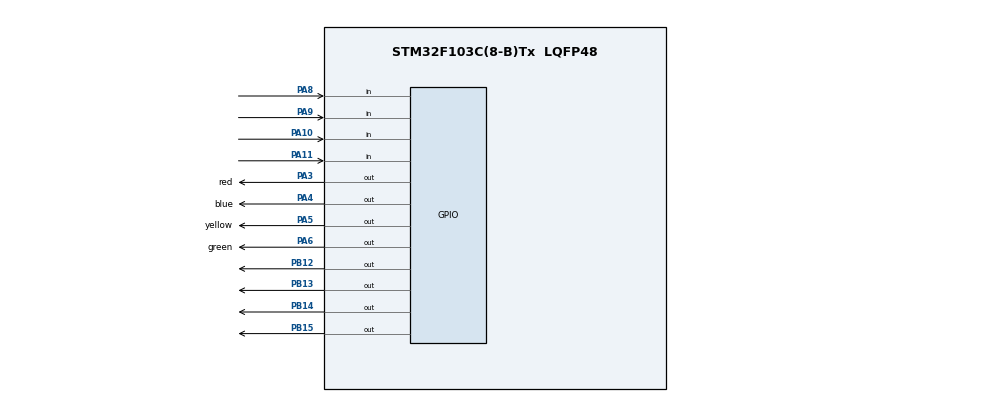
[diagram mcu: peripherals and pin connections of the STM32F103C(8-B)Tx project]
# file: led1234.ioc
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Mcu.Family=STM32F1
Mcu.Name=STM32F103C(8-B)Tx
Mcu.Package=LQFP48
NVIC.PriorityGroup=NVIC_PRIORITYGROUP_4
PA10.GPIO_PuPd=GPIO_PULLUP
PA10.Signal=GPIO_Input
PA11.GPIO_PuPd=GPIO_PULLUP
PA11.Signal=GPIO_Input
PA13.Mode=Serial_Wire
PA13.Signal=SYS_JTMS-SWDIO
PA14.Mode=Serial_Wire
PA14.Signal=SYS_JTCK-SWCLK
PA3.GPIO_Label=red
PA3.Signal=GPIO_Output
PA4.GPIO_Label=blue
PA4.Signal=GPIO_Output
PA5.GPIO_Label=yellow
PA5.Signal=GPIO_Output
PA6.GPIO_Label=green
PA6.Signal=GPIO_Output
PA8.GPIO_PuPd=GPIO_PULLUP
PA8.Signal=GPIO_Input
PA9.GPIO_PuPd=GPIO_PULLUP
PA9.Signal=GPIO_Input
PB12.Signal=GPIO_Output
PB13.Signal=GPIO_Output
PB14.Signal=GPIO_Output
PB15.Signal=GPIO_Output
ProjectManager.HeapSize=0x200
ProjectManager.StackSize=0x400
ProjectManager.TargetToolchain=CMake
RCC.APB1Freq_Value=8000000
RCC.APB2Freq_Value=8000000
board=custom

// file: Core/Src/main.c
/* USER CODE BEGIN Header */
/**
  ******************************************************************************
  * @file           : main.c
  * @brief          : Main program body
  ******************************************************************************
  * @attention
  *
  * Copyright (c) 2026 STMicroelectronics.
  * All rights reserved.
  *
  * This software is licensed under terms that can be found in the LICENSE file
  * in the root directory of this software component.
  * If no LICENSE file comes with this software, it is provided AS-IS.
  *
  ******************************************************************************
  */
/* USER CODE END Header */
#include "main.h"

void SystemClock_Config(void);
static void MX_GPIO_Init(void);

/* USER CODE BEGIN 0 */
static char Keypad_ScanRaw(void)
{
  static const uint16_t columnPins[] = {
    GPIO_PIN_12, GPIO_PIN_13, GPIO_PIN_14, GPIO_PIN_15
  };
  static const uint16_t rowPins[] = {
    GPIO_PIN_8, GPIO_PIN_9, GPIO_PIN_10, GPIO_PIN_11
  };
  static const char keyMap[4][4] = {
    {'1', '2', '3', 'A'},
    {'4', '5', '6', 'B'},
    {'7', '8', '9', 'C'},
    {'*', '0', '#', 'D'}
  };

  for (uint32_t column = 0; column < 4; column++)
  {
    HAL_GPIO_WritePin(GPIOB, GPIO_PIN_12 | GPIO_PIN_13 |
                      GPIO_PIN_14 | GPIO_PIN_15, GPIO_PIN_SET);
    HAL_GPIO_WritePin(GPIOB, columnPins[column], GPIO_PIN_RESET);

    for (uint32_t row = 0; row < 4; row++)
    {
      if (HAL_GPIO_ReadPin(GPIOA, rowPins[row]) == GPIO_PIN_RESET)
      {
        HAL_GPIO_WritePin(GPIOB, GPIO_PIN_12 | GPIO_PIN_13 |
                          GPIO_PIN_14 | GPIO_PIN_15, GPIO_PIN_SET);
        return keyMap[row][column];
      }
    }
  }

  HAL_GPIO_WritePin(GPIOB, GPIO_PIN_12 | GPIO_PIN_13 |
                    GPIO_PIN_14 | GPIO_PIN_15, GPIO_PIN_SET);
  return '\0';
}

char Keypad_GetKey(void)
{
  static char candidateKey = '\0';
  static char reportedKey = '\0';
  static uint32_t candidateSince = 0;
  char key = Keypad_ScanRaw();
  uint32_t now = HAL_GetTick();

  if (key != candidateKey)
  {
    candidateKey = key;
    candidateSince = now;
    return '\0';
  }

  if ((uint32_t)(now - candidateSince) < 20U)
  {
    return '\0';
  }

  if (key == '\0')
  {
    reportedKey = '\0';
  }
  else if (key != reportedKey)
  {
    reportedKey = key;
    return key;
  }

  return '\0';
}
/* USER CODE END 0 */

int main(void)
{

  /* MCU Configuration--------------------------------------------------------*/

  /* Reset of all peripherals, Initializes the Flash interface and the Systick. */
  HAL_Init();

  /* Configure the system clock */
  SystemClock_Config();

  /* Initialize all configured peripherals */
  MX_GPIO_Init();
  /* USER CODE BEGIN 2 */
  const uint16_t ledPins[] = {red_Pin, blue_Pin, yellow_Pin, green_Pin};
  const uint16_t allLedPins = red_Pin | blue_Pin | yellow_Pin | green_Pin;
  uint8_t ledIndex = 0;
  int8_t ledDirection = 1;
  uint32_t lastLedStep = HAL_GetTick();

  HAL_GPIO_WritePin(GPIOA, allLedPins, GPIO_PIN_RESET);
  HAL_GPIO_WritePin(GPIOA, ledPins[ledIndex], GPIO_PIN_SET);
  /* USER CODE END 2 */

  /* Infinite loop */
  while (1)
  {
    if (Keypad_GetKey() != '\0')
    {
      ledDirection = (int8_t)-ledDirection;
    }

    if ((uint32_t)(HAL_GetTick() - lastLedStep) >= 300)
    {
      lastLedStep = HAL_GetTick();
      ledIndex = (uint8_t)((ledIndex + ledDirection + 4) % 4);
      HAL_GPIO_WritePin(GPIOA, allLedPins, GPIO_PIN_RESET);
      HAL_GPIO_WritePin(GPIOA, ledPins[ledIndex], GPIO_PIN_SET);
    }
  }
}

void SystemClock_Config(void)
{
  RCC_OscInitTypeDef RCC_OscInitStruct = {0};
  RCC_ClkInitTypeDef RCC_ClkInitStruct = {0};

  /** Initializes the RCC Oscillators according to the specified parameters
  * in the RCC_OscInitTypeDef structure.
  */
  RCC_OscInitStruct.OscillatorType = RCC_OSCILLATORTYPE_HSI;
  RCC_OscInitStruct.HSIState = RCC_HSI_ON;
  RCC_OscInitStruct.HSICalibrationValue = RCC_HSICALIBRATION_DEFAULT;
  RCC_OscInitStruct.PLL.PLLState = RCC_PLL_NONE;
  if (HAL_RCC_OscConfig(&RCC_OscInitStruct) != HAL_OK)
  {
    Error_Handler();
  }

  /** Initializes the CPU, AHB and APB buses clocks
  */
  RCC_ClkInitStruct.ClockType = RCC_CLOCKTYPE_HCLK|RCC_CLOCKTYPE_SYSCLK
                              |RCC_CLOCKTYPE_PCLK1|RCC_CLOCKTYPE_PCLK2;
  RCC_ClkInitStruct.SYSCLKSource = RCC_SYSCLKSOURCE_HSI;
  RCC_ClkInitStruct.AHBCLKDivider = RCC_SYSCLK_DIV1;
  RCC_ClkInitStruct.APB1CLKDivider = RCC_HCLK_DIV1;
  RCC_ClkInitStruct.APB2CLKDivider = RCC_HCLK_DIV1;

  if (HAL_RCC_ClockConfig(&RCC_ClkInitStruct, FLASH_LATENCY_0) != HAL_OK)
  {
    Error_Handler();
  }
}

static void MX_GPIO_Init(void)
{
  GPIO_InitTypeDef GPIO_InitStruct = {0};

  /* GPIO Ports Clock Enable */
  __HAL_RCC_GPIOA_CLK_ENABLE();
  __HAL_RCC_GPIOB_CLK_ENABLE();

  /*Configure GPIO pin Output Level */
  HAL_GPIO_WritePin(GPIOA, red_Pin|blue_Pin|yellow_Pin|green_Pin, GPIO_PIN_RESET);

  /*Configure GPIO pin Output Level */
  HAL_GPIO_WritePin(GPIOB, GPIO_PIN_12|GPIO_PIN_13|GPIO_PIN_14|GPIO_PIN_15, GPIO_PIN_SET);

  /*Configure GPIO pins : red_Pin blue_Pin yellow_Pin green_Pin */
  GPIO_InitStruct.Pin = red_Pin|blue_Pin|yellow_Pin|green_Pin;
  GPIO_InitStruct.Mode = GPIO_MODE_OUTPUT_PP;
  GPIO_InitStruct.Pull = GPIO_NOPULL;
  GPIO_InitStruct.Speed = GPIO_SPEED_FREQ_LOW;
  HAL_GPIO_Init(GPIOA, &GPIO_InitStruct);

  /*Configure GPIO pins : PB12 PB13 PB14 PB15 */
  GPIO_InitStruct.Pin = GPIO_PIN_12|GPIO_PIN_13|GPIO_PIN_14|GPIO_PIN_15;
  GPIO_InitStruct.Mode = GPIO_MODE_OUTPUT_PP;
  GPIO_InitStruct.Pull = GPIO_NOPULL;
  GPIO_InitStruct.Speed = GPIO_SPEED_FREQ_LOW;
  HAL_GPIO_Init(GPIOB, &GPIO_InitStruct);

  /*Configure GPIO pins : PA8 PA9 PA10 PA11 */
  GPIO_InitStruct.Pin = GPIO_PIN_8|GPIO_PIN_9|GPIO_PIN_10|GPIO_PIN_11;
  GPIO_InitStruct.Mode = GPIO_MODE_INPUT;
  GPIO_InitStruct.Pull = GPIO_PULLUP;
  HAL_GPIO_Init(GPIOA, &GPIO_InitStruct);

}

void Error_Handler(void)
{
  __disable_irq();
  while (1)
  {
  }
}
